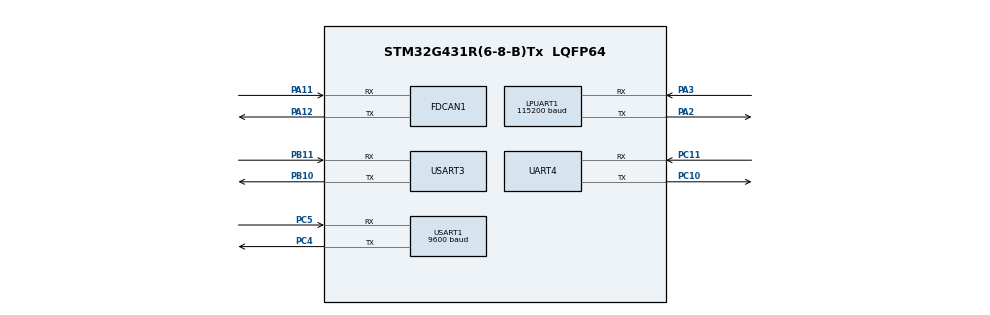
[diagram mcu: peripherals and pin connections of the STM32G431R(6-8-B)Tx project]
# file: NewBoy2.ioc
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Dma.LPUART1_RX.1.Direction=DMA_PERIPH_TO_MEMORY
Dma.LPUART1_RX.1.EventEnable=DISABLE
Dma.LPUART1_RX.1.Instance=DMA1_Channel2
Dma.LPUART1_RX.1.MemDataAlignment=DMA_MDATAALIGN_BYTE
Dma.LPUART1_RX.1.MemInc=DMA_MINC_ENABLE
Dma.LPUART1_RX.1.Mode=DMA_NORMAL
Dma.LPUART1_RX.1.PeriphDataAlignment=DMA_PDATAALIGN_BYTE
Dma.LPUART1_RX.1.PeriphInc=DMA_PINC_DISABLE
Dma.LPUART1_RX.1.Polarity=HAL_DMAMUX_REQ_GEN_RISING
Dma.LPUART1_RX.1.Priority=DMA_PRIORITY_LOW
Dma.LPUART1_RX.1.RequestNumber=1
Dma.LPUART1_RX.1.SignalID=NONE
Dma.LPUART1_RX.1.SyncEnable=DISABLE
Dma.LPUART1_RX.1.SyncPolarity=HAL_DMAMUX_SYNC_NO_EVENT
Dma.LPUART1_RX.1.SyncRequestNumber=1
Dma.LPUART1_RX.1.SyncSignalID=NONE
Dma.Request0=UART4_RX
Dma.Request1=LPUART1_RX
Dma.Request2=USART1_RX
Dma.Request3=USART3_RX
Dma.UART4_RX.0.Direction=DMA_PERIPH_TO_MEMORY
Dma.UART4_RX.0.EventEnable=DISABLE
Dma.UART4_RX.0.Instance=DMA1_Channel1
Dma.UART4_RX.0.MemDataAlignment=DMA_MDATAALIGN_BYTE
Dma.UART4_RX.0.MemInc=DMA_MINC_ENABLE
Dma.UART4_RX.0.Mode=DMA_NORMAL
Dma.UART4_RX.0.PeriphDataAlignment=DMA_PDATAALIGN_BYTE
Dma.UART4_RX.0.PeriphInc=DMA_PINC_DISABLE
Dma.UART4_RX.0.Polarity=HAL_DMAMUX_REQ_GEN_RISING
Dma.UART4_RX.0.Priority=DMA_PRIORITY_LOW
Dma.UART4_RX.0.RequestNumber=1
Dma.UART4_RX.0.SignalID=NONE
Dma.UART4_RX.0.SyncEnable=DISABLE
Dma.UART4_RX.0.SyncPolarity=HAL_DMAMUX_SYNC_NO_EVENT
Dma.UART4_RX.0.SyncRequestNumber=1
Dma.UART4_RX.0.SyncSignalID=NONE
Dma.USART1_RX.2.Direction=DMA_PERIPH_TO_MEMORY
Dma.USART1_RX.2.EventEnable=DISABLE
Dma.USART1_RX.2.Instance=DMA1_Channel3
Dma.USART1_RX.2.MemDataAlignment=DMA_MDATAALIGN_BYTE
Dma.USART1_RX.2.MemInc=DMA_MINC_ENABLE
Dma.USART1_RX.2.Mode=DMA_NORMAL
Dma.USART1_RX.2.PeriphDataAlignment=DMA_PDATAALIGN_BYTE
Dma.USART1_RX.2.PeriphInc=DMA_PINC_DISABLE
Dma.USART1_RX.2.Polarity=HAL_DMAMUX_REQ_GEN_RISING
Dma.USART1_RX.2.Priority=DMA_PRIORITY_LOW
Dma.USART1_RX.2.RequestNumber=1
Dma.USART1_RX.2.SignalID=NONE
Dma.USART1_RX.2.SyncEnable=DISABLE
Dma.USART1_RX.2.SyncPolarity=HAL_DMAMUX_SYNC_NO_EVENT
Dma.USART1_RX.2.SyncRequestNumber=1
Dma.USART1_RX.2.SyncSignalID=NONE
Dma.USART3_RX.3.Direction=DMA_PERIPH_TO_MEMORY
Dma.USART3_RX.3.EventEnable=DISABLE
Dma.USART3_RX.3.Instance=DMA1_Channel5
Dma.USART3_RX.3.MemDataAlignment=DMA_MDATAALIGN_BYTE
Dma.USART3_RX.3.MemInc=DMA_MINC_ENABLE
Dma.USART3_RX.3.Mode=DMA_NORMAL
Dma.USART3_RX.3.PeriphDataAlignment=DMA_PDATAALIGN_BYTE
Dma.USART3_RX.3.PeriphInc=DMA_PINC_DISABLE
Dma.USART3_RX.3.Polarity=HAL_DMAMUX_REQ_GEN_RISING
Dma.USART3_RX.3.Priority=DMA_PRIORITY_LOW
Dma.USART3_RX.3.RequestNumber=1
Dma.USART3_RX.3.SignalID=NONE
Dma.USART3_RX.3.SyncEnable=DISABLE
Dma.USART3_RX.3.SyncPolarity=HAL_DMAMUX_SYNC_NO_EVENT
Dma.USART3_RX.3.SyncRequestNumber=1
Dma.USART3_RX.3.SyncSignalID=NONE
FREERTOS.Tasks01=defaultTask,24,128,StartDefaultTask,Default,NULL,Dynamic,NULL,NULL
FREERTOS.configTOTAL_HEAP_SIZE=4096
LPUART1.BaudRate=115200
Mcu.Family=STM32G4
Mcu.Name=STM32G431R(6-8-B)Tx
Mcu.Package=LQFP64
NVIC.DMA1_Channel1_IRQn=true\:10\:0\:true\:false\:true\:false\:true\:true
NVIC.DMA1_Channel2_IRQn=true\:10\:0\:true\:false\:true\:false\:true\:true
NVIC.DMA1_Channel3_IRQn=true\:10\:0\:true\:false\:true\:false\:true\:true
NVIC.DMA1_Channel5_IRQn=true\:10\:0\:true\:false\:true\:false\:true\:true
NVIC.LPUART1_IRQn=true\:12\:0\:true\:false\:true\:true\:true\:true
NVIC.PriorityGroup=NVIC_PRIORITYGROUP_4
NVIC.TIM1_UP_TIM16_IRQn=true\:0\:0\:false\:false\:true\:false\:true\:true
NVIC.TIM6_DAC_IRQn=true\:0\:0\:false\:false\:true\:true\:true\:true
NVIC.TimeBase=TIM1_UP_TIM16_IRQn
NVIC.TimeBaseIP=TIM1
NVIC.UART4_IRQn=true\:13\:0\:true\:false\:true\:true\:true\:true
NVIC.USART1_IRQn=true\:15\:0\:true\:false\:true\:true\:true\:true
NVIC.USART3_IRQn=true\:14\:0\:true\:false\:true\:true\:true\:true
PA11.Mode=FDCANMaster
PA11.Signal=FDCAN1_RX
PA12.Mode=FDCANMaster
PA12.Signal=FDCAN1_TX
PA2.GPIO_PuPd=GPIO_PULLUP
PA2.Mode=Asynchronous
PA2.Signal=LPUART1_TX
PA3.GPIO_PuPd=GPIO_PULLUP
PA3.Mode=Asynchronous
PA3.Signal=LPUART1_RX
PB10.Mode=Asynchronous
PB10.Signal=USART3_TX
PB11.GPIO_PuPd=GPIO_PULLUP
PB11.Mode=Asynchronous
PB11.Signal=USART3_RX
PC10.Mode=Asynchronous
PC10.Signal=UART4_TX
PC11.GPIO_PuPd=GPIO_PULLUP
PC11.Mode=Asynchronous
PC11.Signal=UART4_RX
PC14-OSC32_IN.Mode=LSE-External-Oscillator
PC14-OSC32_IN.Signal=RCC_OSC32_IN
PC15-OSC32_OUT.Mode=LSE-External-Oscillator
PC15-OSC32_OUT.Signal=RCC_OSC32_OUT
PC4.Mode=Asynchronous
PC4.Signal=USART1_TX
PC5.GPIO_PuPd=GPIO_PULLUP
PC5.Mode=Asynchronous
PC5.Signal=USART1_RX
PF0-OSC_IN.Mode=HSE-External-Oscillator
PF0-OSC_IN.Signal=RCC_OSC_IN
PF1-OSC_OUT.Mode=HSE-External-Oscillator
PF1-OSC_OUT.Signal=RCC_OSC_OUT
ProjectManager.HeapSize=0x2000
ProjectManager.StackSize=0x400
ProjectManager.TargetToolchain=MDK-ARM V5
RCC.ADC12Freq_Value=170000000
RCC.AHBFreq_Value=170000000
RCC.APB1Freq_Value=170000000
RCC.APB1TimFreq_Value=170000000
RCC.APB2Freq_Value=170000000
RCC.APB2TimFreq_Value=170000000
RCC.CortexFreq_Value=170000000
RCC.EXTERNAL_CLOCK_VALUE=12288000
RCC.HCLKFreq_Value=170000000
RCC.HSE_VALUE=24000000
RCC.HSI48_VALUE=48000000
RCC.HSI_VALUE=16000000
RCC.PLLM=RCC_PLLM_DIV4
RCC.PLLN=85
RCC.RTCClockSelection=RCC_RTCCLKSOURCE_LSE
RCC.SYSCLKFreq_VALUE=170000000
RCC.SYSCLKSource=RCC_SYSCLKSOURCE_PLLCLK
RCC.USBFreq_Value=170000000
RCC.VCOOutputFreq_Value=340000000
TIM6.AutoReloadPreload=TIM_AUTORELOAD_PRELOAD_ENABLE
TIM6.PeriodNoDither=10000-1
TIM6.Prescaler=17000-1
USART1.BaudRate=9600
USART1.FIFOMode=FIFOMODE_DISABLE
USART1.TXFIFOThreshold=TXFIFO_THRESHOLD_EMPTY
USART1.VirtualMode-Asynchronous=VM_ASYNC
USART3.VirtualMode-Asynchronous=VM_ASYNC
VP_FREERTOS_VS_CMSIS_V2.Mode=CMSIS_V2
VP_RTC_VS_RTC_Activate.Mode=RTC_Enabled
VP_SYS_VS_DBSignals.Mode=DisableDeadBatterySignals
VP_SYS_VS_tim1.Mode=TIM1
VP_TIM6_VS_ClockSourceINT.Mode=Enable_Timer
board=custom

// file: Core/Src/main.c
/* USER CODE BEGIN Header */
/**
  ******************************************************************************
  * @file           : main.c
  * @brief          : Main program body
  ******************************************************************************
  * @attention
  *
  * <h2><center>&copy; Copyright (c) 2020 STMicroelectronics.
  * All rights reserved.</center></h2>
  *
  * This software component is licensed by ST under Ultimate Liberty license
  * SLA0044, the "License"; You may not use this file except in compliance with
  * the License. You may obtain a copy of the License at:
  *                             www.st.com/SLA0044
  *
  ******************************************************************************
  */
/* USER CODE END Header */
#include "main.h"
#include "cmsis_os.h"
#include "dma.h"
#include "fdcan.h"
#include "usart.h"
#include "rtc.h"
#include "tim.h"
#include "gpio.h"

/* USER CODE BEGIN Includes */
#include "stdio.h"
/* USER CODE END Includes */

void SystemClock_Config(void);
void MX_FREERTOS_Init(void);

/* USER CODE BEGIN 0 */
#define APP_ADDRESS			0x08008000
/* USER CODE END 0 */

int main(void)
{
  /* USER CODE BEGIN 1 */
  //SCB->VTOR = APP_ADDRESS;
  /* USER CODE END 1 */

  /* MCU Configuration--------------------------------------------------------*/

  /* Reset of all peripherals, Initializes the Flash interface and the Systick. */
  HAL_Init();

  /* Configure the system clock */
  SystemClock_Config();

  /* USER CODE BEGIN SysInit */
  __enable_irq();
  /* USER CODE END SysInit */

  /* Initialize all configured peripherals */
  MX_GPIO_Init();
  MX_DMA_Init();
  MX_UART4_Init();
  MX_LPUART1_UART_Init();
  MX_USART1_UART_Init();
  MX_FDCAN1_Init();
  MX_USART3_UART_Init();
  MX_RTC_Init();
  MX_TIM6_Init();

  /* Init scheduler */
  osKernelInitialize();  /* Call init function for freertos objects (in freertos.c) */
  MX_FREERTOS_Init();
  /* Start scheduler */
  osKernelStart();

  /* We should never get here as control is now taken by the scheduler */
  /* Infinite loop */
  while (1)
  {

  }
}

void SystemClock_Config(void)
{
  LL_FLASH_SetLatency(LL_FLASH_LATENCY_4);
  while(LL_FLASH_GetLatency() != LL_FLASH_LATENCY_4)
  {
  }
  LL_PWR_EnableRange1BoostMode();
  LL_RCC_HSI_Enable();
   /* Wait till HSI is ready */
  while(LL_RCC_HSI_IsReady() != 1)
  {
  }

  LL_RCC_HSI_SetCalibTrimming(64);
  LL_PWR_EnableBkUpAccess();
  LL_RCC_ForceBackupDomainReset();
  LL_RCC_ReleaseBackupDomainReset();
  LL_RCC_LSE_SetDriveCapability(LL_RCC_LSEDRIVE_LOW);
  LL_RCC_LSE_Enable();
   /* Wait till LSE is ready */
  while(LL_RCC_LSE_IsReady() != 1)
  {
  }

  LL_RCC_PLL_ConfigDomain_SYS(LL_RCC_PLLSOURCE_HSI, LL_RCC_PLLM_DIV_4, 85, LL_RCC_PLLR_DIV_2);
  LL_RCC_PLL_EnableDomain_SYS();
  LL_RCC_PLL_Enable();
   /* Wait till PLL is ready */
  while(LL_RCC_PLL_IsReady() != 1)
  {
  }

  LL_RCC_SetSysClkSource(LL_RCC_SYS_CLKSOURCE_PLL);
  LL_RCC_SetAHBPrescaler(LL_RCC_SYSCLK_DIV_2);
   /* Wait till System clock is ready */
  while(LL_RCC_GetSysClkSource() != LL_RCC_SYS_CLKSOURCE_STATUS_PLL)
  {
  }

  /* Insure 1?s transition state at intermediate medium speed clock based on DWT */
  CoreDebug->DEMCR |= CoreDebug_DEMCR_TRCENA_Msk;
  DWT->CTRL |= DWT_CTRL_CYCCNTENA_Msk;
  DWT->CYCCNT = 0;
  while(DWT->CYCCNT < 100);
  /* Set AHB prescaler*/
  LL_RCC_SetAHBPrescaler(LL_RCC_SYSCLK_DIV_1);
  LL_RCC_SetAPB1Prescaler(LL_RCC_APB1_DIV_1);
  LL_RCC_SetAPB2Prescaler(LL_RCC_APB2_DIV_1);
  LL_SetSystemCoreClock(170000000);

   /* Update the time base */
  if (HAL_InitTick (TICK_INT_PRIORITY) != HAL_OK)
  {
    Error_Handler();
  }
  LL_RCC_SetRTCClockSource(LL_RCC_RTC_CLKSOURCE_LSE);
  LL_RCC_EnableRTC();
  LL_RCC_SetFDCANClockSource(LL_RCC_FDCAN_CLKSOURCE_PCLK1);
  LL_RCC_SetUSARTClockSource(LL_RCC_USART1_CLKSOURCE_PCLK2);
  LL_RCC_SetLPUARTClockSource(LL_RCC_LPUART1_CLKSOURCE_PCLK1);
  LL_RCC_SetUSARTClockSource(LL_RCC_USART3_CLKSOURCE_PCLK1);
  LL_RCC_SetUARTClockSource(LL_RCC_UART4_CLKSOURCE_PCLK1);
}

void HAL_TIM_PeriodElapsedCallback(TIM_HandleTypeDef *htim)
{
  if (htim->Instance == TIM1) {
    HAL_IncTick();
  }
}

void Error_Handler(void)
{
  /* USER CODE BEGIN Error_Handler_Debug */
  /* User can add his own implementation to report the HAL error return state */
	printf("!!!error handle!!!\n");
  /* USER CODE END Error_Handler_Debug */
}

/************************ (C) COPYRIGHT STMicroelectronics *****END OF FILE****/

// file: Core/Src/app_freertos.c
/* USER CODE BEGIN Header */
/**
  ******************************************************************************
  * File Name          : app_freertos.c
  * Description        : Code for freertos applications
  ******************************************************************************
  * @attention
  *
  * <h2><center>&copy; Copyright (c) 2020 STMicroelectronics.
  * All rights reserved.</center></h2>
  *
  * This software component is licensed by ST under Ultimate Liberty license
  * SLA0044, the "License"; You may not use this file except in compliance with
  * the License. You may obtain a copy of the License at:
  *                             www.st.com/SLA0044
  *
  ******************************************************************************
  */
/* USER CODE END Header */

#include "FreeRTOS.h"
#include "task.h"
#include "main.h"
#include "cmsis_os.h"

/* USER CODE BEGIN Includes */
#include "user_task.h"
#include "usart.h"
#include "stdio.h"
#include "stdlib.h"
#include "string.h"
#include "minmea.h"
#include "at_statemachine.h"
#include "utils.h"
#include "gpio.h"
#include "data_saver.h"
#include "queue.h"
/* USER CODE END Includes */

/* Definitions for defaultTask */
osThreadId_t defaultTaskHandle;
const osThreadAttr_t defaultTask_attributes = {
  .name = "defaultTask",
  .priority = (osPriority_t) osPriorityNormal,
  .stack_size = 128 * 4
};

/* USER CODE BEGIN FunctionPrototypes */
osThreadId_t gps_task_handle;
const osThreadAttr_t gps_task_attributes = {
  .name = "gps_task",
  .priority = (osPriority_t) osPriorityHigh,
  .stack_size = 128 * 6
};
void gps_task(void *argument);

osThreadId_t at_task_handle;
const osThreadAttr_t at_task_attributes = {
  .name = "at_task",
  .priority = (osPriority_t) osPriorityHigh,
  .stack_size = 128 * 6
};

bool at_dealing_data = false;

void at_task(void *argument);

void reset_at_module(void);

xQueueHandle at_queue_handle;
#define QUEUE_LENGTH    4
#define ITEM_SIZE       sizeof( uint8_t* )
uint8_t ucQueueStorageArea[ QUEUE_LENGTH * ITEM_SIZE ];
static uint8_t* at_receive_address;
static StaticQueue_t xStaticQueue;
/* USER CODE END FunctionPrototypes */

void StartDefaultTask(void *argument);

void MX_FREERTOS_Init(void); /* (MISRA C 2004 rule 8.1) */

void MX_FREERTOS_Init(void) {

  /* USER CODE BEGIN RTOS_QUEUES */
  /* add queues, ... */

  at_queue_handle = xQueueCreateStatic( 4,  ITEM_SIZE, ucQueueStorageArea, &xStaticQueue);
  /* USER CODE END RTOS_QUEUES */

  /* Create the thread(s) */
  /* creation of defaultTask */
  //defaultTaskHandle = osThreadNew(StartDefaultTask, NULL, &defaultTask_attributes);

  /* USER CODE BEGIN RTOS_THREADS */
  /* add threads, ... */
  gps_task_handle = osThreadNew(gps_task, NULL, &gps_task_attributes);

  at_task_handle = osThreadNew(at_task, NULL, &at_task_attributes);
  /* USER CODE END RTOS_THREADS */

}

void StartDefaultTask(void *argument)
{
  /* USER CODE BEGIN StartDefaultTask */
  /* Infinite loop */
  // init at module

  // check new version

  // download file

  //
  for(;;)
  {
    HAL_Delay(1000);
	printf("hello, log\n");
  }
  /* USER CODE END StartDefaultTask */
}

/* USER CODE BEGIN Application */
static char gps_buffer[GPS_BUFFER_SIZE];
static char gprmc_buffer[100];
static char gpgga_buffer[100];
void gps_task(void *argument)
{
	while(1) {
		osThreadFlagsWait(GPS_DATA_FLAG, osFlagsWaitAny, osWaitForever);
		strcpy(gps_buffer, (char*)usart1_buffer);
		//printf("%s\n", gps_buffer);
		const char* gprmc_pointer = strstr(gps_buffer, "$GPRMC");
		if (gprmc_pointer != NULL) {
			const char* gprmc_end_pointer = strstr(gprmc_pointer, "\n");
			int rmc_length = gprmc_end_pointer-gprmc_pointer;
			printf("rmc length %d\n", rmc_length);
			strncpy(gprmc_buffer, gprmc_pointer, rmc_length);
			struct minmea_sentence_rmc frame;
			if (minmea_parse_rmc(&frame, gprmc_buffer)) {
                    /*printf("$GPRMC: raw coordinates and speed: (%d/%d,%d/%d) %d/%d\n",
                            frame.latitude.value, frame.latitude.scale,
                            frame.longitude.value, frame.longitude.scale,
                            frame.speed.value, frame.speed.scale);
                    printf("$GPRMC fixed-point coordinates and speed scaled to three decimal places: (%d,%d) %d\n",
                            minmea_rescale(&frame.latitude, 1000),
                            minmea_rescale(&frame.longitude, 1000),
                            minmea_rescale(&frame.speed, 1000));
				printf("$GPRMC time: date:%d-%d-%d, time: %d-%d-%d\n",
							frame.date.year, frame.date.month, frame.date.day,
                            frame.time.hours, frame.time.minutes, frame.time.seconds
							);
				*/
					save_gps_info(frame.longitude.value, frame.latitude.value);

              }
              else {
                  printf("$xxRMC sentence is not parsed\n");
              }
		}
		const char* gpgga_pointer = strstr(gps_buffer, "$GPGGA");
		if (gpgga_pointer != NULL) {
			const char* gpgga_end_pointer = strstr(gpgga_pointer, "\n");
			int gga_length = gpgga_end_pointer-gpgga_pointer;
			printf("gga length %d\n", gga_length);
			strncpy(gpgga_buffer, gpgga_pointer, gga_length);
			struct minmea_sentence_gga frame;
			if (minmea_parse_gga(&frame, gpgga_buffer)) {
               printf("$xxGGA: fix quality: %d\n", frame.fix_quality);
            }
            else {
               printf("$xxGGA sentence is not parsed\n");
            }
		}
		printf("number1=%ld, %ld, %ld", uxTaskGetNumberOfTasks(), uxTaskGetStackHighWaterMark(gps_task_handle), uxTaskGetStackHighWaterMark(at_task_handle));
	}
}

void at_task(void *argument)
{
	init_at_module();
	nbiot_fsm_state_index_t* current_index_pointer;
	BaseType_t  queue_result = pdFALSE;
	int reset_flag = 0;
	int wait_again = 0;
	int wait_time = 0;
	while(1) {
		if (reset_flag) {
			jump_to_init_at_task();
			reset_flag = 0;
		}

		// ok and command arrived at different time
		if (!wait_again) {
			current_index_pointer = get_current_state_index();
			current_index_pointer->fsm_state->action1();
			wait_time = current_index_pointer->fsm_state->wait_time;
		}

		queue_result = xQueueReceive(at_queue_handle, &at_receive_address, wait_time);
		//wait_result = osThreadFlagsWait(AT_WAIT_FLAG, osFlagsWaitAny, wait_time);
		//if time out , retry tyrcnt times.
		printf("qresult = %ld\n", queue_result);
		if (queue_result == pdFALSE) {
			if (current_index_pointer->trycnt < current_index_pointer->fsm_state->try_cnt) {
				current_index_pointer->trycnt++;
				continue;
			} else {
				reset_flag = 1;
				continue;
			}
		}

		//const char* command = get_at_command_from_buffer((char*)at_buffer);
		printf("buffer:%s\n", at_receive_address);
		action_result action2_result = current_index_pointer->fsm_state->action2((char*)at_receive_address);

		if (action2_result == ACTION_REPEAT) {
			continue;
		} else if (action2_result == ACTION_SUCCESS) {
			wait_again = 0;
			HAL_Delay(current_index_pointer->fsm_state->delay_time);
			jump_to_next_at_statemachine();
		} else if (action2_result == ACTION_WAIT_AGAIN) {
			wait_again = 1;
		} else if (action2_result == ACTION_COMPLETED) {
			jump_to_next_at_task();
		} else {
			current_index_pointer->trycnt++;
			HAL_Delay(current_index_pointer->fsm_state->delay_time);
		}
		printf("number2=%ld, %ld, %ld\n", uxTaskGetNumberOfTasks(), uxTaskGetStackHighWaterMark(gps_task_handle), uxTaskGetStackHighWaterMark(at_task_handle));
	}
}

void reset_at_module()
{
	printf("reset at module\n");
	reset_action();
	init_at_module();
	osThreadFlagsSet(at_task_handle, AT_RESET_FLAG);
}
/* USER CODE END Application */

/************************ (C) COPYRIGHT STMicroelectronics *****END OF FILE****/
